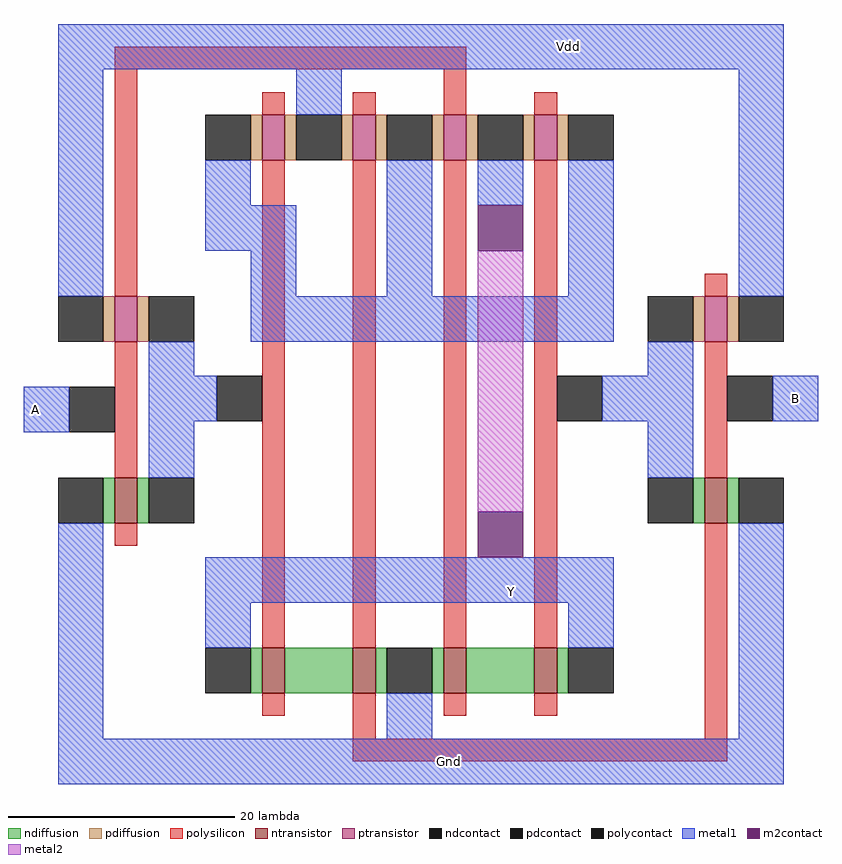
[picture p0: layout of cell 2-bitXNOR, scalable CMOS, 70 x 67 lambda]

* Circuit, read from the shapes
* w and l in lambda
.subckt 2-bitXNOR A B Gnd Vdd Y
M1 n1 A Gnd VSUBS nfet w=4 l=2
M2 n2 n1 Y VSUBS nfet w=4 l=2
M3 Gnd B n2 VSUBS nfet w=4 l=2
M4 n3 A Gnd VSUBS nfet w=4 l=2
M5 Y n4 n3 VSUBS nfet w=4 l=2
M6 Gnd B n4 VSUBS nfet w=4 l=2
M7 n1 A Vdd NWELL pfet w=4 l=2
M8 Vdd n1 n5 NWELL pfet w=4 l=2
M9 n5 B Vdd NWELL pfet w=4 l=2
M10 Y A n5 NWELL pfet w=4 l=2
M11 n5 n4 Y NWELL pfet w=4 l=2
M12 Vdd B n4 NWELL pfet w=4 l=2
.ends

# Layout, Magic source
magic
tech scmos
<< polysilicon >>
rect 5 24 36 26
rect 5 4 7 24
rect 18 20 20 22
rect 26 20 28 22
rect 34 20 36 24
rect 42 20 44 22
rect 5 -12 7 0
rect 5 -18 7 -16
rect 18 -27 20 16
rect 26 -27 28 16
rect 34 -27 36 16
rect 42 -27 44 16
rect 57 4 59 6
rect 57 -12 59 0
rect 18 -33 20 -31
rect 26 -35 28 -31
rect 34 -33 36 -31
rect 42 -33 44 -31
rect 57 -35 59 -16
rect 26 -37 59 -35
<< ndiffusion >>
rect 4 -16 5 -12
rect 7 -16 8 -12
rect 56 -16 57 -12
rect 59 -16 60 -12
rect 17 -31 18 -27
rect 20 -31 26 -27
rect 28 -31 29 -27
rect 33 -31 34 -27
rect 36 -31 42 -27
rect 44 -31 45 -27
<< pdiffusion >>
rect 17 16 18 20
rect 20 16 21 20
rect 25 16 26 20
rect 28 16 29 20
rect 33 16 34 20
rect 36 16 37 20
rect 41 16 42 20
rect 44 16 45 20
rect 4 0 5 4
rect 7 0 8 4
rect 56 0 57 4
rect 59 0 60 4
<< metal1 >>
rect 0 24 64 28
rect 0 4 4 24
rect 21 20 25 24
rect 13 12 17 16
rect 13 8 21 12
rect 17 4 21 8
rect 29 4 33 16
rect 37 12 41 16
rect 45 4 49 16
rect 60 4 64 24
rect 17 0 49 4
rect 8 -3 12 0
rect 52 -3 56 0
rect -3 -8 1 -4
rect 8 -7 14 -3
rect 48 -7 56 -3
rect 63 -7 67 -3
rect 8 -12 12 -7
rect 52 -12 56 -7
rect 0 -35 4 -16
rect 13 -23 49 -19
rect 13 -27 17 -23
rect 45 -27 49 -23
rect 29 -35 33 -31
rect 60 -35 64 -16
rect 0 -39 64 -35
<< metal2 >>
rect 37 -15 41 8
<< ntransistor >>
rect 5 -16 7 -12
rect 57 -16 59 -12
rect 18 -31 20 -27
rect 26 -31 28 -27
rect 34 -31 36 -27
rect 42 -31 44 -27
<< ptransistor >>
rect 18 16 20 20
rect 26 16 28 20
rect 34 16 36 20
rect 42 16 44 20
rect 5 0 7 4
rect 57 0 59 4
<< polycontact >>
rect 1 -8 5 -4
rect 14 -7 18 -3
rect 44 -7 48 -3
rect 59 -7 63 -3
<< ndcontact >>
rect 0 -16 4 -12
rect 8 -16 12 -12
rect 52 -16 56 -12
rect 60 -16 64 -12
rect 13 -31 17 -27
rect 29 -31 33 -27
rect 45 -31 49 -27
<< pdcontact >>
rect 13 16 17 20
rect 21 16 25 20
rect 29 16 33 20
rect 37 16 41 20
rect 45 16 49 20
rect 0 0 4 4
rect 8 0 12 4
rect 52 0 56 4
rect 60 0 64 4
<< m2contact >>
rect 37 8 41 12
rect 37 -19 41 -15
<< labels >>
rlabel metal1 34 -37 35 -37 1 Gnd
rlabel metal1 -2 -6 -2 -6 3 A
rlabel metal1 65 -5 65 -5 7 B
rlabel metal1 45 26 45 26 5 Vdd
rlabel metal1 40 -22 40 -22 1 Y
<< end >>
